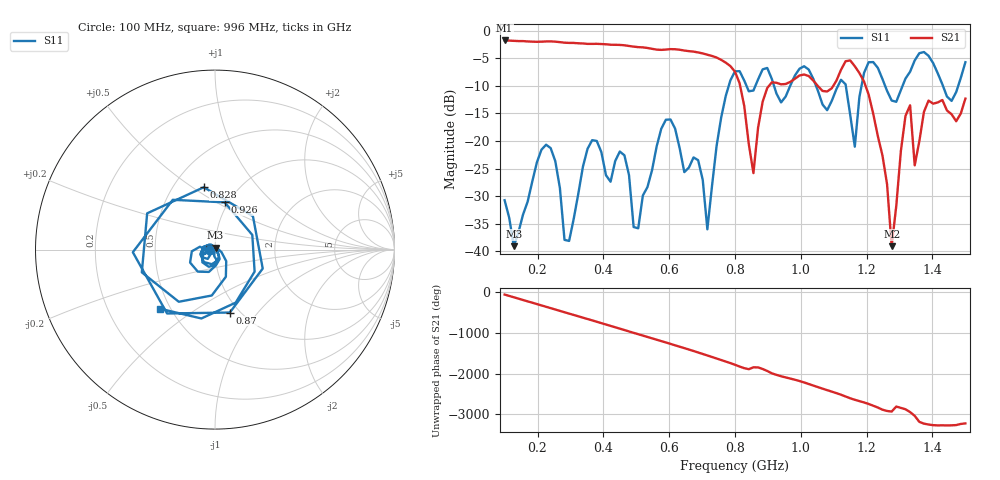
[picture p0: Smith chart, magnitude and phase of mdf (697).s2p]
! NanoVNA-App
! Date: 2025-09-25 15:43:50
! Start: 100MHz Stop: 1,5GHz Points: 101
! S-Parameter data: F S11 S21 S12 S22
# Hz S RI R 50
!  Frequency  S11_Real  S11_Imag  S21_Real  S21_Imag  S12_Real  S12_Imag  S22_Real  S22_Imag
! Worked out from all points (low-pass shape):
!   101 points, 100 MHz to 1.5 GHz, reference 50 ohm
!   highest |S21| = -1.80 dB at 100 MHz (marker M1); lowest = -39.1 dB at 1.276 GHz (marker M2)
!   |S21| within 3 dB of the highest: start of sweep to 739.5 MHz
!   lowest |S11| = -39.0 dB at 128 MHz (marker M3), VSWR 1.02, Z = 50.3 + j1.07 ohm
!   |S11| at or under -10 dB: start of sweep to 781.1 MHz; 1.046 GHz to 1.113 GHz (67.19 MHz wide, 6.22 % of centre); 1.256 GHz to 1.309 GHz (53.33 MHz wide, 4.16 % of centre)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
!   S12 and S22 are empty: the file has one direction only
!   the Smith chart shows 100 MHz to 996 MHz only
!   S11 on the Smith chart (normalised r, x): 100 MHz: 0.94, -0.01; 828 MHz: 0.70, +0.56; 870 MHz: 0.90, -0.73; 926 MHz: 0.96, +0.55; 996 MHz: 0.44, -0.36
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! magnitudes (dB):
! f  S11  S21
! 100 MHz  -30.7  -1.8
! 128 MHz  -39.0  -1.9
! 212 MHz  -21.6  -2.0
! 282 MHz  -37.9  -2.2
! 338 MHz  -24.7  -2.3
! 464 MHz  -22.6  -2.7
! 506 MHz  -35.8  -3.0
! 576 MHz  -17.8  -3.5
! 716 MHz  -36.0  -4.4
! 800 MHz  -7.4  -7.5
! 828 MHz  -9.0  -13.6
! 856 MHz  -10.9  -25.8
! 870 MHz  -8.9  -17.6
! 926 MHz  -11.4  -9.5
! 996 MHz  -6.9  -8.1
! 1.038 GHz  -8.8  -9.1
! 1.164 GHz  -21.0  -6.5
! 1.192 GHz  -7.7  -9.2
! 1.276 GHz  -12.7  -39.1
! 1.332 GHz  -7.5  -13.5
! 1.346 GHz  -5.4  -24.4
! 1.5 GHz  -5.7  -12.3
